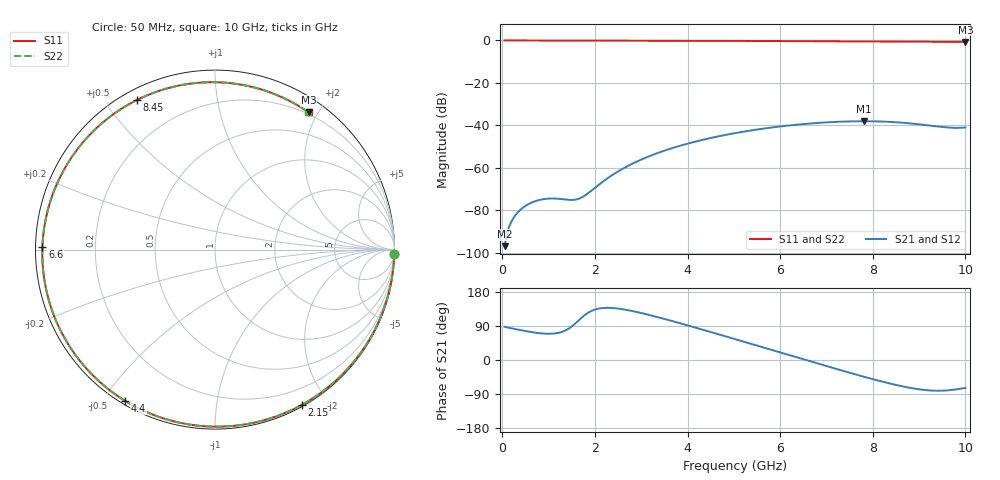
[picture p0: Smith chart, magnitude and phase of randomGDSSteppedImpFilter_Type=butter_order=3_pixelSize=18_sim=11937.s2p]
! freq	dB(S11)	phase(S11)	dB(S12)	phase(S12)
!  dB(S21)	phase(S21)	dB(S22)	phase(S22)
!S-par simulation data
#  GHz  S  DB  R 50
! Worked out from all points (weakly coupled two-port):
!   200 points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, 50 MHz to 10 GHz, reference 50 ohm
!   highest |S21| = -38.06 dB at 7.8 GHz (marker M1); lowest = -96.9 dB at 50 MHz (marker M2)
!   lowest |S11| = -0.7 dB at 10 GHz (marker M3), VSWR 25.69, Z = 8.88 + j94.1 ohm
!   |S11| at or under -10 dB: nowhere
!   |S22| runs from -0.7 to 0.0 dB; largest |S21 - S12| = 0
!   S11 on the Smith chart (normalised r, x): 50 MHz: 2, -81; 2.15 GHz: 0.02, -1.70; 4.4 GHz: 0.01, -0.57; 6.6 GHz: 0.02, +0.01; 8.45 GHz: 0.04, +0.61; 10 GHz: 0.18, +1.88
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0.05  -0.00 -1.4  -96.92 87.7  -96.92 87.7  -0.00 -1.4
0.35  -0.02 -10.1  -80.64 79.9  -80.64 79.9  -0.01 -10.1
0.6  -0.02 -17.3  -76.73 74.2  -76.73 74.2  -0.02 -17.3
0.85  -0.03 -24.5  -74.92 70.1  -74.92 70.1  -0.03 -24.5
1.55  -0.06 -44.2  -75.09 93.5  -75.09 93.5  -0.06 -44.2
1.75  -0.06 -49.8  -73.52 115.5  -73.52 115.5  -0.06 -49.8
2.15  -0.08 -60.8  -66.88 136.9  -66.88 136.9  -0.08 -60.8
2.7  -0.10 -75.8  -59.26 131.8  -59.26 131.8  -0.10 -75.7
3.4  -0.12 -94.4  -52.68 111.7  -52.68 111.7  -0.12 -94.4
4.4  -0.17 -120.7  -46.45 77.4  -46.45 77.4  -0.17 -120.6
5.05  -0.21 -137.8  -43.57 54.3  -43.57 54.3  -0.21 -137.8
5.85  -0.27 -159.5  -40.92 25.5  -40.92 25.5  -0.27 -159.5
6.6  -0.34 179.0  -39.21 -1.6  -39.21 -1.6  -0.34 179.0
6.7  -0.35 176.0  -39.03 -5.2  -39.03 -5.2  -0.35 176.0
7.25  -0.41 159.0  -38.32 -24.8  -38.32 -24.8  -0.41 159.0
7.8  -0.47 140.8  -38.06 -43.9  -38.06 -43.9  -0.47 140.8
8.35  -0.53 121.2  -38.35 -61.5  -38.35 -61.5  -0.52 121.3
8.45  -0.54 117.5  -38.47 -64.4  -38.47 -64.4  -0.54 117.6
8.85  -0.58 102.2  -39.16 -74.5  -39.16 -74.5  -0.58 102.3
9.25  -0.61 86.4  -40.15 -80.5  -40.15 -80.5  -0.61 86.5
9.6  -0.64 72.1  -40.98 -80.3  -40.98 -80.3  -0.64 72.2
10  -0.68 55.7  -41.00 -73.7  -41.00 -73.7  -0.68 55.8
